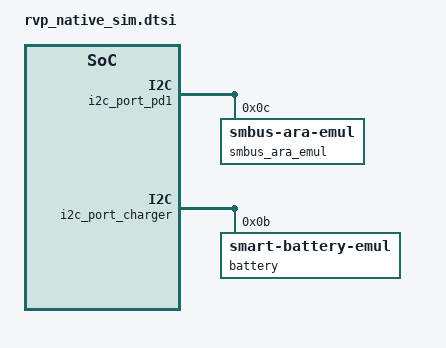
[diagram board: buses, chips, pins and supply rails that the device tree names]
/* Copyright 2026 The ChromiumOS Authors
 * Use of this source code is governed by a BSD-style license that can be
 * found in the LICENSE file.
 */

&kbd {
	/delete-property/ row-size;
	/delete-property/ col-size;
};

&i2c_port_pd1 {
	smbus_ara_emul: smbus_ara@c {
		compatible = "zephyr,smbus-ara-emul";
		reg = <0xc>;
	};
};

&i2c_port_charger {
	battery: sb@b {
		compatible = "zephyr,smart-battery-emul";
		reg = <0xb>;
		cycle-count = <99>;
		version = "BATTERY_SPEC_VER_1_1_WITH_PEC";
		volt = <13200>;
		desired-charg-volt = <13200>;
		desired-charg-cur = <2400>;
		mf-name = "LGC";
		dev-name = "AP18C8K";
	};
};

&pca95xx_0 {
	compatible = "zephyr,gpio-emul";
	/delete-property/ zephyr,deferred-init;
};

&pca95xx_1 {
	compatible = "zephyr,gpio-emul";
};

/delete-node/ &it8801_mfd;
/delete-node/ &seven_seg_display;

usbc0: &usbc_port0 {};
usbc1: &usbc_port1 {};
ppm_driver_nodelabel: &{/usbc/ppm-driver} {};
